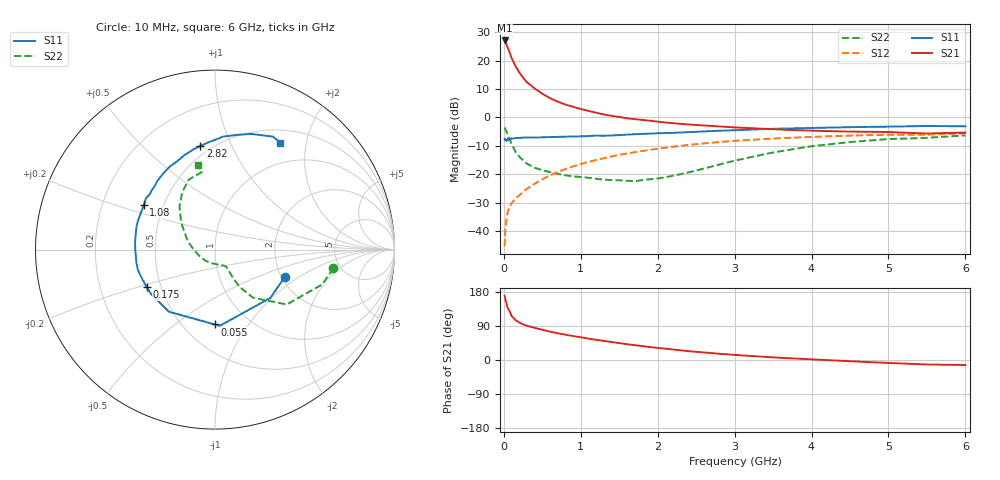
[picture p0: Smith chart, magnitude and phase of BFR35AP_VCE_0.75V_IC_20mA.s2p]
! Infineon Technologies  Discrete & RF Semiconductors
! BFR35AP
! VCE = 0.75 V,  IC =  20 mA
! Common Emitter S-Parameters:  Nov 2015
# GHz  S  MA  R  50
!  f  S11  S21  S12  S22
! GHz  MAG  ANG  MAG  ANG  MAG  ANG  MAG  ANG
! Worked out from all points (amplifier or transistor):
!   210 points, 10 MHz to 6 GHz, reference 50 ohm
!   highest |S21| = 27.1 dB at 10 MHz (marker M1)
!   |S21| within 3 dB of that: start of sweep to 58.55 MHz
!   unconditionally stable (mu >= 1): start of sweep to 33.89 MHz; 80.35 MHz to end of sweep
!   at 185 MHz: K = 1.44, MAG = 18.2 dB, |S12| = -27.8 dB
!   at 1.52 GHz: K = 1.79, MAG = 1.5 dB, |S12| = -13.1 dB
!   at 6 GHz: K = 1.17, MAG = -2.3 dB, |S12| = -5.6 dB
!   S11 on the Smith chart (normalised r, x): 10 MHz: 2.07, -0.77; 55 MHz: 0.70, -0.71; 175 MHz: 0.42, -0.21; 1.08 GHz: 0.39, +0.25; 2.82 GHz: 0.44, +0.77; 6 GHz: 0.67, +1.57
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0.01  0.4168 -21.6  22.73 169.5  0.0054 78.3  0.6671 -9.0
0.02  0.4096 -41.0  21.6 159.5  0.0107 72.3  0.6282 -18.0
0.05  0.4256 -86.4  17.22 136.9  0.0216 59.1  0.5035 -37.4
0.055  0.4169 -90.2  16.56 135.5  0.0225 58.3  0.4863 -38.4
0.1  0.4309 -126.6  11.26 116.2  0.0307 52.9  0.3414 -51.7
0.15  0.4343 -146.0  7.989 105.2  0.0371 52.9  0.2484 -56.7
0.175  0.4335 -151.4  7.1 102.4  0.0398 54.2  0.2262 -57.0
0.2  0.4365 -156.8  6.233 98.8  0.0425 55.3  0.2041 -57.3
0.26  0.4441 -166.0  4.834 93.2  0.0499 57.9  0.1703 -57.3
0.3  0.444 -170.5  4.18 90.2  0.055 59.8  0.1532 -57.5
0.4  0.4442 -179.2  3.237 84.5  0.0679 62.3  0.1301 -56.9
0.6  0.4501 169.0  2.184 74.8  0.0953 64.4  0.1082 -58.4
0.8  0.4584 159.9  1.68 66.8  0.1231 63.6  0.0956 -64.3
1.02  0.4644 150.2  1.388 59.1  0.1537 62.1  0.089 -72.0
1.08  0.4682 147.9  1.322 57.0  0.1619 61.4  0.0874 -75.4
1.4  0.4838 136.7  1.065 47.4  0.2054 57.5  0.079 -95.2
2.02  0.5275 117.9  0.835 31.5  0.2838 48.4  0.0849 -143.2
2.82  0.5843 98.0  0.692 16.2  0.3709 35.6  0.1506 165.2
3.1  0.6022 92.4  0.658 12.1  0.3948 30.9  0.1854 153.3
4.1  0.6573 77.2  0.58 0.7  0.4601 16.1  0.3217 127.2
5.1  0.6922 66.6  0.547 -8.6  0.4964 2.8  0.4196 108.3
6  0.6982 58.7  0.543 -13.2  0.5274 -6.0  0.4828 101.6
